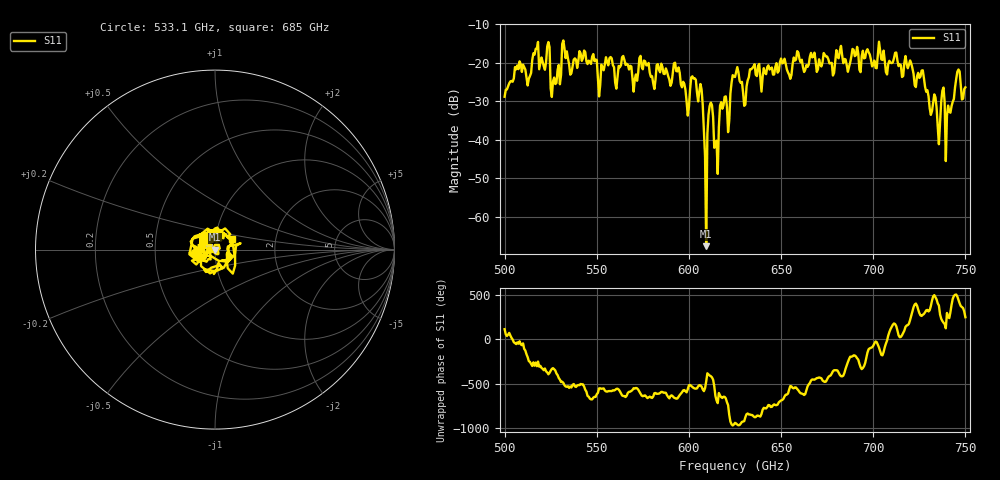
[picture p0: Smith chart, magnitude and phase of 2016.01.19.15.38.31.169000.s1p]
!Created with skrf (http://scikit-rf.org).
# GHz S RI R 50.0
!freq ReS11 ImS11
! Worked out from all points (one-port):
!   401 points, 500 GHz to 750 GHz, reference 50 ohm
!   lowest |S11| = -67.6 dB at 609.4 GHz (marker M1), VSWR 1.00, Z = 50 - j0.0385 ohm
!   |S11| at or under -10 dB: start of sweep to end of sweep
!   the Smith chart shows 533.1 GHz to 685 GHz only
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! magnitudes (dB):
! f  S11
! 500 GHz  -28.8
! 506.9 GHz  -20.6
! 513.1 GHz  -24.1
! 516.9 GHz  -16.3
! 523.1 GHz  -15.7
! 526.2 GHz  -24.8
! 531.2 GHz  -15.1
! 562.5 GHz  -21.1
! 593.8 GHz  -22.2
! 598.8 GHz  -30.0
! 602.5 GHz  -24.1
! 606.2 GHz  -25.5
! 609.4 GHz  -67.6
! 611.9 GHz  -30.3
! 615 GHz  -40.2
! 618.1 GHz  -31.9
! 621.9 GHz  -35.0
! 625 GHz  -23.7
! 630 GHz  -31.1
! 634.4 GHz  -21.3
! 656.2 GHz  -20.3
! 687.5 GHz  -19.9
! 718.8 GHz  -21.4
! 735.6 GHz  -41.1
! 737.5 GHz  -27.2
! 740.6 GHz  -31.1
! 745.6 GHz  -22.3
! 750 GHz  -26.3
